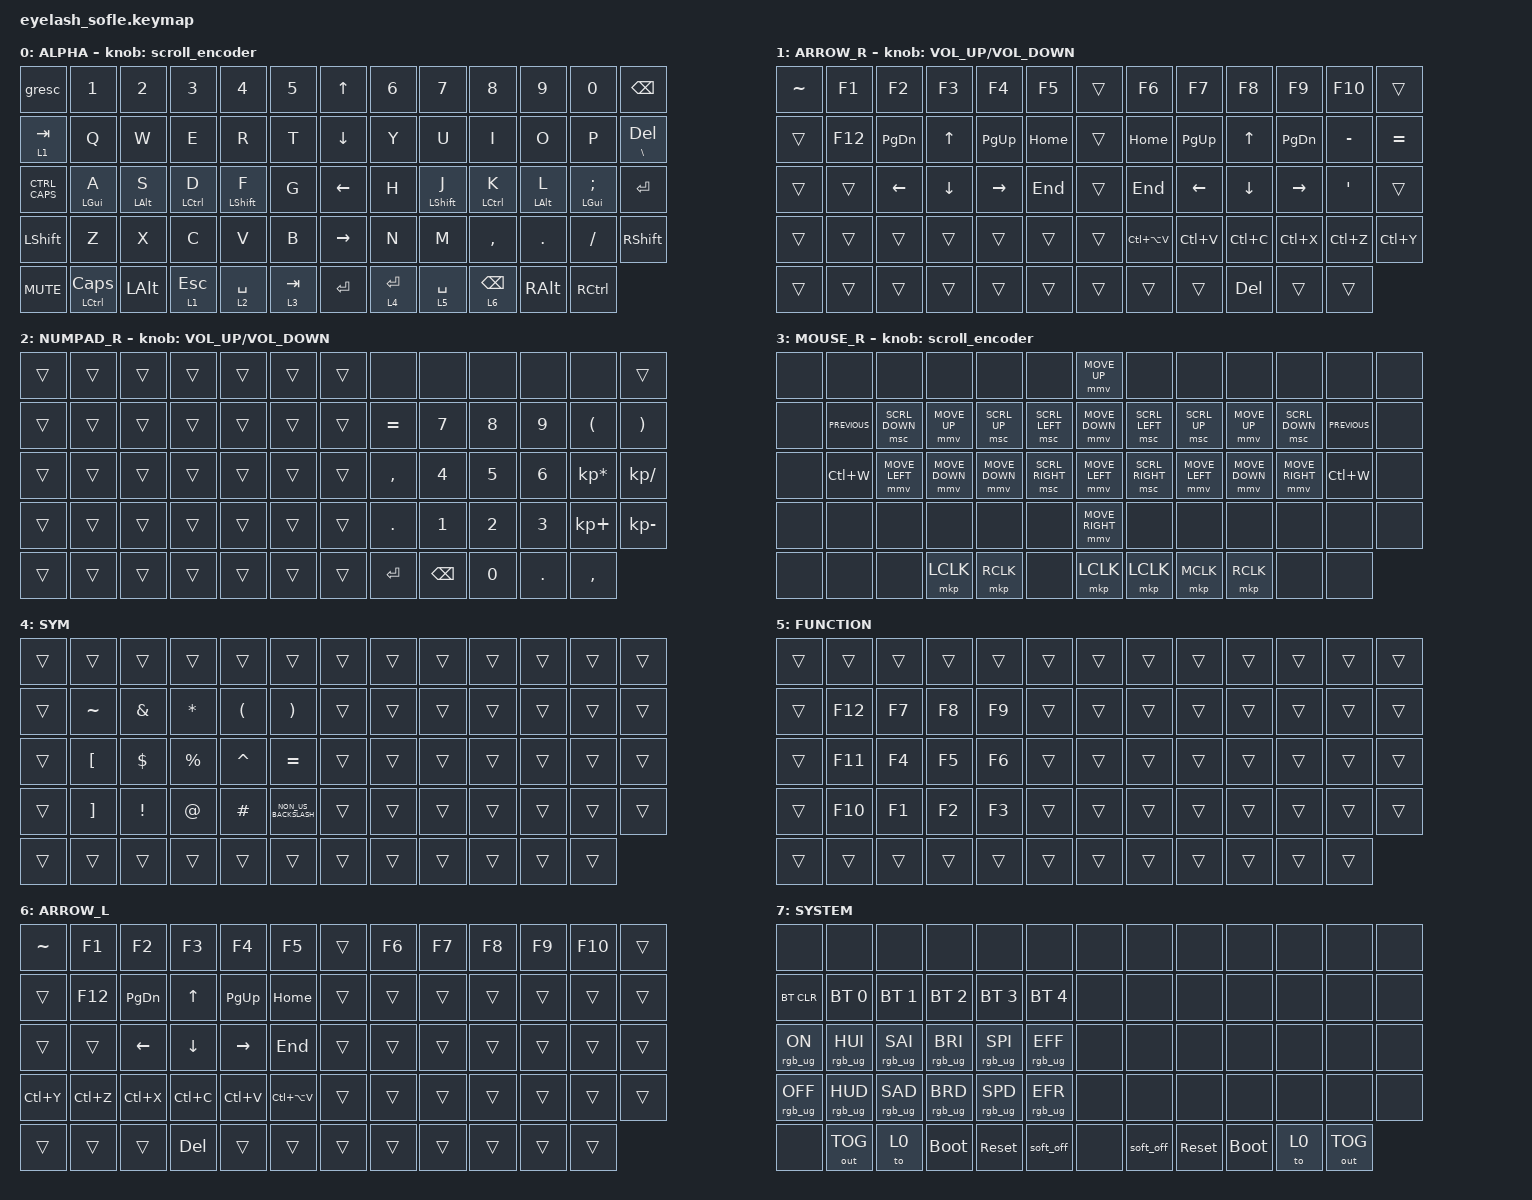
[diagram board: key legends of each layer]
#define ZMK_POINTING_DEFAULT_MOVE_VAL 1200  // 600
#define ZMK_POINTING_DEFAULT_SCRL_VAL 25   // 10

#include <input/processors.dtsi>
#include <zephyr/dt-bindings/input/input-event-codes.h>
#include <behaviors.dtsi>
#include <dt-bindings/zmk/bt.h>
#include <dt-bindings/zmk/keys.h>
#include <dt-bindings/zmk/outputs.h>
#include <dt-bindings/zmk/pointing.h>
#include <dt-bindings/zmk/rgb.h>

&mmv_input_listener { input-processors = <&zip_xy_scaler 2 1>; };

&msc_input_listener { input-processors = <&zip_scroll_scaler 2 1>; };

&msc {
    acceleration-exponent = <1>;      // 0
    time-to-max-speed-ms = <100>;       // 300
    delay-ms = <0>;                   // 0
};

&mmv {
    time-to-max-speed-ms = <500>;
    acceleration-exponent = <1>;
    trigger-period-ms = <16>;
};

/ {
    scroll_encoder: scroll_encoder {
        compatible = "zmk,behavior-sensor-rotate";
        #sensor-binding-cells = <0>;
        bindings = <&msc SCRL_DOWN>, <&msc SCRL_UP>;

        tap-ms = <100>;
    };

    HOME_ROW: HOME_ROW {
        compatible = "zmk,behavior-hold-tap";
        label = "HOME_ROW";
        bindings = <&kp>, <&kp>;

        #binding-cells = <2>;
        flavor = "tap-preferred";
        tapping-term-ms = <200>;
    };

    CTRL_CAPS: CTRL_CAPS {
        compatible = "zmk,behavior-tap-dance";
        label = "CTRL_CAPS";
        #binding-cells = <0>;
        bindings = <&kp LCTRL>, <&kp CAPSLOCK>;
    };

    behaviors {
    };

    combos {
        compatible = "zmk,combos";

        LSYSL {
            bindings = <&tog 7>;
            key-positions = <57 18>;
        };

        RSYSL {
            bindings = <&tog 7>;
            key-positions = <59 20>;
        };

        HANGUL_2 {
            bindings = <&kp RIGHT_ALT>;
            key-positions = <20 33>;
        };

        HANGUL_3 {
            bindings = <&kp RIGHT_ALT>;
            key-positions = <33 46>;
        };

        BT_SEL_1 {
            bindings = <&bt BT_SEL 1>;
            key-positions = <8 9>;
        };

        BT_SEL_0 {
            bindings = <&bt BT_SEL 0>;
            key-positions = <7 8>;
        };

        COMBO_CUT {
            bindings = <&kp LC(X)>;
            key-positions = <40 41>;
        };

        COMBO_COPY {
            bindings = <&kp LC(C)>;
            key-positions = <41 42>;
        };

        COMBO_PASTE {
            bindings = <&kp LC(V)>;
            key-positions = <42 43>;
        };

        COMBO_PASTESPECIAL {
            bindings = <&kp LA(LC(V))>;
            key-positions = <43 44>;
        };

        LRESET {
            bindings = <&sys_reset>;
            key-positions = <53 54 55 57 56>;
        };

        RRESET {
            bindings = <&sys_reset>;
            key-positions = <59 60 61 62 63>;
        };

        HANGUL_1 {
            bindings = <&kp RIGHT_ALT>;
            key-positions = <46 47>;
        };

        taskmgr {
            bindings = <&kp LC(LS(ESCAPE))>;
            key-positions = <39 26 0>;
        };

        altf4 {
            bindings = <&kp LA(F4)>;
            key-positions = <4 17>;
        };

        F2COMBO {
            bindings = <&kp F2>;
            key-positions = <2 15>;
        };

        F5COMBO {
            bindings = <&kp F5>;
            key-positions = <5 18>;
        };

        Lbootloader {
            bindings = <&bootloader>;
            key-positions = <53 54 55>;
        };

        Rbootloader {
            bindings = <&bootloader>;
            key-positions = <61 62 63>;
        };

        pw1 {
            bindings = <&pw1>;
            key-positions = <14 27 40>;
        };

        pw2 {
            bindings = <&pw2>;
            key-positions = <1 14 27>;
        };
    };

    macros {
        pw1: pw1 {
            compatible = "zmk,behavior-macro";
            #binding-cells = <0>;
            bindings = <&kp C &kp H &kp L &kp E &kp O &kp N1 &kp Q &kp A &kp Z &kp EXCL &kp LS(Q) &kp LS(A) &kp LS(Z)>;
            label = "PW1";
        };

        pw2: pw2 {
            compatible = "zmk,behavior-macro";
            #binding-cells = <0>;
            bindings = <&kp Z &kp O &kp Q &kp J &kp S &kp N1 &kp Q &kp A &kp Z &kp EXCL &kp LS(Q) &kp LS(A) &kp LS(Z)>;
            label = "PW2";
        };

        gmm: gmm {
            compatible = "zmk,behavior-macro";
            #binding-cells = <0>;
            bindings = <&kp M &kp A &kp K &kp E &kp Y &kp O &kp U &kp H &kp I &kp G &kp H &kp N0 &kp N2 &kp N1 &kp N6 &kp AT &kp G &kp M &kp A &kp I &kp L &kp DOT &kp C &kp O &kp M>;
            label = "GMM";
        };

        gmd: gmd {
            compatible = "zmk,behavior-macro";
            #binding-cells = <0>;
            bindings = <&kp D &kp A &kp E &kp H &kp Y &kp U &kp N &kp DOT &kp C &kp H &kp O &kp I &kp DOT &kp N2 &kp N1 &kp N6 &kp AT &kp G &kp M &kp A &kp I &kp L &kp DOT &kp C &kp O &kp M>;
            label = "GMD";
        };
    };

    keymap {
        compatible = "zmk,keymap";

        ALPHA {
            bindings = <
&gresc      &kp N1                &kp N2                &kp N3             &kp N4                  &kp N5       &kp UP_ARROW     &kp N6       &kp N7                  &kp N8             &kp N9                &kp N0                   &kp BACKSPACE
&lt 1 TAB   &kp Q                 &kp W                 &kp E              &kp R                   &kp T        &kp DOWN_ARROW   &kp Y        &kp U                   &kp I              &kp O                 &kp P                    &mt BACKSLASH DELETE
&CTRL_CAPS  &HOME_ROW LEFT_GUI A  &HOME_ROW LEFT_ALT S  &HOME_ROW LCTRL D  &HOME_ROW LEFT_SHIFT F  &kp G        &kp LEFT_ARROW   &kp H        &HOME_ROW LEFT_SHIFT J  &HOME_ROW LCTRL K  &HOME_ROW LEFT_ALT L  &HOME_ROW LEFT_GUI SEMI  &kp ENTER
&kp LSHFT   &kp Z                 &kp X                 &kp C              &kp V                   &kp B        &kp RIGHT_ARROW  &kp N        &kp M                   &kp COMMA          &kp DOT               &kp FSLH                 &kp RSHIFT
&kp C_MUTE  &mt LCTRL CAPSLOCK    &kp LEFT_ALT          &lt 1 ESCAPE       &lt 2 SPACE             &lt 3 TAB    &kp ENTER        &lt 4 ENTER  &lt 5 SPACE             &lt 6 BACKSPACE    &kp RIGHT_ALT         &kp RCTRL
            >;

            sensor-bindings = <&scroll_encoder>;
            display-name = "ALPHA";
            label = "ALPHA";
        };

        ARROW_R {
            bindings = <
&kp TILDE  &kp F1   &kp F2         &kp F3    &kp F4     &kp F5      &trans  &kp F6         &kp F7       &kp F8      &kp F9         &kp F10         &trans
&trans     &kp F12  &kp PAGE_DOWN  &kp UP    &kp PG_UP  &kp HOME    &trans  &kp HOME       &kp PAGE_UP  &kp UP      &kp PAGE_DOWN  &kp MINUS       &kp EQUAL
&trans     &trans   &kp LEFT       &kp DOWN  &kp RIGHT  &kp END     &trans  &kp END        &kp LEFT     &kp DOWN    &kp RIGHT      &kp APOSTROPHE  &trans
&trans     &trans   &trans         &trans    &trans     &trans      &trans  &kp LC(LA(V))  &kp LC(V)    &kp LC(C)   &kp LC(X)      &kp LC(Z)       &kp LC(Y)
&trans     &trans   &trans         &trans    &trans     &trans      &trans  &trans         &trans       &kp DELETE  &trans         &trans
            >;

            display-name = "ARROW_R";
            sensor-bindings = <&inc_dec_kp C_VOLUME_UP C_VOLUME_DOWN>;
            label = "ARROW_R";
        };

        NUMPAD_R {
            bindings = <
&trans  &trans  &trans  &trans  &trans  &trans    &trans  &none       &none          &none         &none         &none                 &trans
&trans  &trans  &trans  &trans  &trans  &trans    &trans  &kp EQUAL   &kp N7         &kp N8        &kp N9        &kp LEFT_PARENTHESIS  &kp RIGHT_PARENTHESIS
&trans  &trans  &trans  &trans  &trans  &trans    &trans  &kp COMMA   &kp NUMBER_4   &kp N5        &kp NUMBER_6  &kp KP_ASTERISK       &kp KP_DIVIDE
&trans  &trans  &trans  &trans  &trans  &trans    &trans  &kp PERIOD  &kp NUMBER_1   &kp NUMBER_2  &kp NUMBER_3  &kp KP_PLUS           &kp KP_MINUS
&trans  &trans  &trans  &trans  &trans  &trans    &trans  &kp ENTER   &kp BACKSPACE  &kp NUMBER_0  &kp PERIOD    &kp COMMA
            >;

            sensor-bindings = <&inc_dec_kp C_VOLUME_UP C_VOLUME_DOWN>;
            label = "NUMPAD_R";
        };

        MOUSE_R {
            label = "MOUSE_R";
            display-name = "MOUSE_R";
            bindings = <
&none  &none           &none           &none           &none           &none              &mmv MOVE_UP     &none            &none           &none           &none            &none           &none
&none  &kp C_PREVIOUS  &msc SCRL_DOWN  &mmv MOVE_UP    &msc SCRL_UP    &msc SCRL_LEFT     &mmv MOVE_DOWN   &msc SCRL_LEFT   &msc SCRL_UP    &mmv MOVE_UP    &msc SCRL_DOWN   &kp C_PREVIOUS  &none
&none  &kp LC(W)       &mmv MOVE_LEFT  &mmv MOVE_DOWN  &mmv MOVE_DOWN  &msc SCRL_RIGHT    &mmv MOVE_LEFT   &msc SCRL_RIGHT  &mmv MOVE_LEFT  &mmv MOVE_DOWN  &mmv MOVE_RIGHT  &kp LC(W)       &none
&none  &none           &none           &none           &none           &none              &mmv MOVE_RIGHT  &none            &none           &none           &none            &none           &none
&none  &none           &none           &mkp LCLK       &mkp RCLK       &none              &mkp LCLK        &mkp LCLK        &mkp MCLK       &mkp RCLK       &none            &none
            >;

            sensor-bindings = <&scroll_encoder>;
        };

        SYM {
            bindings = <
&trans  &trans             &trans           &trans        &trans                &trans                   &trans  &trans  &trans  &trans  &trans  &trans  &trans
&trans  &kp TILDE          &kp AMPERSAND    &kp ASTERISK  &kp LEFT_PARENTHESIS  &kp RIGHT_PARENTHESIS    &trans  &trans  &trans  &trans  &trans  &trans  &trans
&trans  &kp LEFT_BRACKET   &kp DOLLAR       &kp PERCENT   &kp CARET             &kp EQUAL                &trans  &trans  &trans  &trans  &trans  &trans  &trans
&trans  &kp RIGHT_BRACKET  &kp EXCLAMATION  &kp AT_SIGN   &kp HASH              &kp NON_US_BACKSLASH     &trans  &trans  &trans  &trans  &trans  &trans  &trans
&trans  &trans             &trans           &trans        &trans                &trans                   &trans  &trans  &trans  &trans  &trans  &trans
            >;

            label = "SYM";
        };

        FUNCTION {
            bindings = <
&trans  &trans   &trans  &trans  &trans  &trans    &trans  &trans  &trans  &trans  &trans  &trans  &trans
&trans  &kp F12  &kp F7  &kp F8  &kp F9  &trans    &trans  &trans  &trans  &trans  &trans  &trans  &trans
&trans  &kp F11  &kp F4  &kp F5  &kp F6  &trans    &trans  &trans  &trans  &trans  &trans  &trans  &trans
&trans  &kp F10  &kp F1  &kp F2  &kp F3  &trans    &trans  &trans  &trans  &trans  &trans  &trans  &trans
&trans  &trans   &trans  &trans  &trans  &trans    &trans  &trans  &trans  &trans  &trans  &trans
            >;

            label = "FUNCTION";
        };

        ARROW_L {
            bindings = <
&kp TILDE  &kp F1     &kp F2         &kp F3        &kp F4       &kp F5           &trans  &kp F6  &kp F7  &kp F8  &kp F9  &kp F10  &trans
&trans     &kp F12    &kp PAGE_DOWN  &kp UP_ARROW  &kp PAGE_UP  &kp HOME         &trans  &trans  &trans  &trans  &trans  &trans   &trans
&trans     &trans     &kp LEFT       &kp DOWN      &kp RIGHT    &kp END          &trans  &trans  &trans  &trans  &trans  &trans   &trans
&kp LC(Y)  &kp LC(Z)  &kp LC(X)      &kp LC(C)     &kp LC(V)    &kp LC(LA(V))    &trans  &trans  &trans  &trans  &trans  &trans   &trans
&trans     &trans     &trans         &kp DELETE    &trans       &trans           &trans  &trans  &trans  &trans  &trans  &trans
            >;

            label = "ARROW_L";
        };

        SYSTEM {
            bindings = <
&none            &none            &none            &none            &none            &none              &none  &none      &none       &none        &none  &none         &none
&bt BT_CLR       &bt BT_SEL 0     &bt BT_SEL 1     &bt BT_SEL 2     &bt BT_SEL 3     &bt BT_SEL 4       &none  &none      &none       &none        &none  &none         &none
&rgb_ug RGB_ON   &rgb_ug RGB_HUI  &rgb_ug RGB_SAI  &rgb_ug RGB_BRI  &rgb_ug RGB_SPI  &rgb_ug RGB_EFF    &none  &none      &none       &none        &none  &none         &none
&rgb_ug RGB_OFF  &rgb_ug RGB_HUD  &rgb_ug RGB_SAD  &rgb_ug RGB_BRD  &rgb_ug RGB_SPD  &rgb_ug RGB_EFR    &none  &none      &none       &none        &none  &none         &none
&none            &out OUT_TOG     &to 0            &bootloader      &sys_reset       &soft_off          &none  &soft_off  &sys_reset  &bootloader  &to 0  &out OUT_TOG
            >;

            label = "SYSTEM";
        };
    };
};
